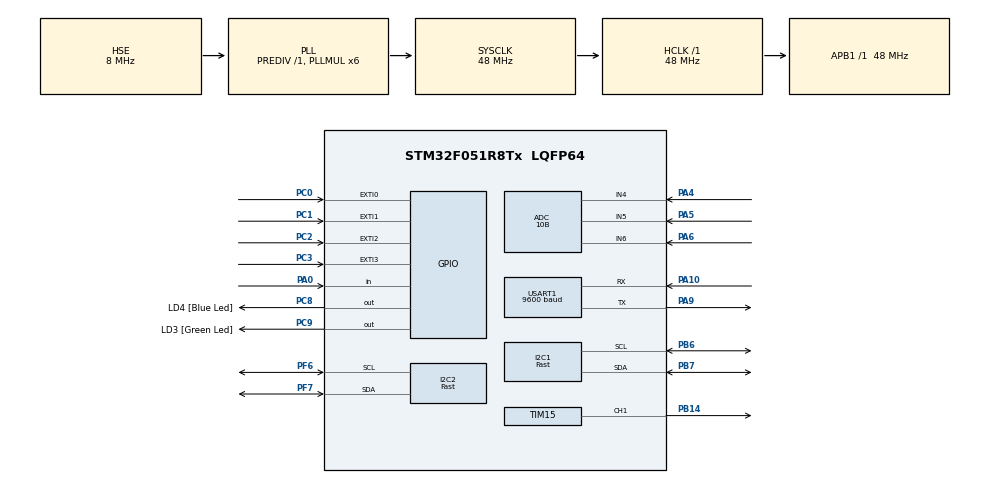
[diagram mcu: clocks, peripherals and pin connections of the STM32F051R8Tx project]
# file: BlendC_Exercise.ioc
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ADC.ClockPrescaler=ADC_CLOCK_ASYNC_DIV1
ADC.ContinuousConvMode=DISABLE
ADC.DMAContinuousRequests=DISABLE
ADC.DataAlign=ADC_DATAALIGN_RIGHT
ADC.DiscontinuousConvMode=DISABLE
ADC.EOCSelection=ADC_EOC_SINGLE_CONV
ADC.EnableAnalogWatchDog=false
ADC.ExternalTrigConv=ADC_SOFTWARE_START
ADC.ExternalTrigConvEdge=ADC_EXTERNALTRIGCONVEDGE_NONE
ADC.LowPowerAutoPowerOff=DISABLE
ADC.LowPowerAutoWait=DISABLE
ADC.Overrun=ADC_OVR_DATA_PRESERVED
ADC.Resolution=ADC_RESOLUTION_10B
ADC.SamplingTime=ADC_SAMPLETIME_1CYCLE_5
ADC.ScanConvMode=ADC_SCAN_DIRECTION_FORWARD
Dma.ADC.0.Direction=DMA_PERIPH_TO_MEMORY
Dma.ADC.0.Instance=DMA1_Channel1
Dma.ADC.0.MemDataAlignment=DMA_MDATAALIGN_WORD
Dma.ADC.0.MemInc=DMA_MINC_ENABLE
Dma.ADC.0.Mode=DMA_NORMAL
Dma.ADC.0.PeriphDataAlignment=DMA_PDATAALIGN_WORD
Dma.ADC.0.PeriphInc=DMA_PINC_DISABLE
Dma.ADC.0.Priority=DMA_PRIORITY_LOW
Dma.Request0=ADC
I2C1.I2C_Speed_Mode=I2C_Fast
I2C1.Timing=0x2010091A
I2C2.I2C_Speed_Mode=I2C_Fast
I2C2.Timing=0x2010091A
Mcu.Family=STM32F0
Mcu.Name=STM32F051R8Tx
Mcu.Package=LQFP64
NVIC.DMA1_Channel1_IRQn=true\:0\:0\:false\:false\:true\:false
NVIC.EXTI0_1_IRQn=true\:2\:0\:true\:false\:true\:true
NVIC.EXTI2_3_IRQn=true\:2\:0\:true\:false\:true\:true
NVIC.TIM15_IRQn=true\:0\:0\:false\:false\:true\:true
NVIC.USART1_IRQn=true\:1\:0\:true\:false\:true\:true
PA0.GPIO_PuPd=GPIO_PULLUP
PA0.Signal=GPIO_Input
PA10.GPIO_PuPd=GPIO_PULLUP
PA10.Mode=Asynchronous
PA10.Signal=USART1_RX
PA13.GPIO_Label=SWDIO
PA13.Mode=Serial_Wire
PA13.Signal=SYS_SWDIO
PA14.GPIO_Label=SWCLK
PA14.Mode=Serial_Wire
PA14.Signal=SYS_SWCLK
PA4.Mode=IN4
PA4.Signal=ADC_IN4
PA5.Mode=IN5
PA5.Signal=ADC_IN5
PA6.Mode=IN6
PA6.Signal=ADC_IN6
PA9.GPIO_PuPd=GPIO_PULLUP
PA9.Mode=Asynchronous
PA9.Signal=USART1_TX
PB14.Signal=S_TIM15_CH1
PB6.Mode=I2C
PB6.Signal=I2C1_SCL
PB7.Mode=I2C
PB7.Signal=I2C1_SDA
PC0.GPIO_PuPd=GPIO_PULLUP
PC0.Signal=GPXTI0
PC1.GPIO_PuPd=GPIO_PULLUP
PC1.Signal=GPXTI1
PC2.GPIO_PuPd=GPIO_PULLUP
PC2.Signal=GPXTI2
PC3.GPIO_PuPd=GPIO_PULLUP
PC3.Signal=GPXTI3
PC8.GPIO_Label=LD4 [Blue Led]
PC8.Signal=GPIO_Output
PC9.GPIO_Label=LD3 [Green Led]
PC9.Signal=GPIO_Output
PF0-OSC_IN.Mode=HSE-External-Oscillator
PF0-OSC_IN.Signal=RCC_OSC_IN
PF1-OSC_OUT.Mode=HSE-External-Oscillator
PF1-OSC_OUT.Signal=RCC_OSC_OUT
PF6.Mode=I2C
PF6.Signal=I2C2_SCL
PF7.Mode=I2C
PF7.Signal=I2C2_SDA
ProjectManager.HeapSize=0x200
ProjectManager.StackSize=0x400
ProjectManager.TargetToolchain=MDK-ARM V5
RCC.AHBFreq_Value=48000000
RCC.APB1Freq_Value=48000000
RCC.APB1TimFreq_Value=48000000
RCC.HCLKFreq_Value=48000000
RCC.I2c1ClockSelection=RCC_I2C1CLKSOURCE_SYSCLK
RCC.PLLMUL=RCC_PLL_MUL6
RCC.PLLSourceVirtual=RCC_PLLSOURCE_HSE
RCC.SYSCLKFreq_VALUE=48000000
RCC.SYSCLKSource=RCC_SYSCLKSOURCE_PLLCLK
RCC.Usart1ClockSelection=RCC_USART1CLKSOURCE_SYSCLK
SH.S_TIM15_CH1.0=TIM15_CH1,PWM Generation1 CH1
TIM15.Channel-PWM\ Generation1\ CH1=TIM_CHANNEL_1
TIM15.Period=639
TIM15.Prescaler=2
TIM15.Pulse-PWM\ Generation1\ CH1=319
TIM15.RepetitionCounter=9
USART1.BaudRate=9600
USART1.VirtualMode-Asynchronous=VM_ASYNC
VP_TIM15_VS_ClockSourceINT.Mode=Internal
board=STM32F0DISCOVERY

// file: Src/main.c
/**
  ******************************************************************************
  * @file           : main.c
  * @brief          : Main program body
  ******************************************************************************
  ** This notice applies to any and all portions of this file
  * that are not between comment pairs USER CODE BEGIN and
  * USER CODE END. Other portions of this file, whether
  * inserted by the user or by software development tools
  * are owned by their respective copyright owners.
  *
  * COPYRIGHT(c) 2018 STMicroelectronics
  *
  * Redistribution and use in source and binary forms, with or without modification,
  * are permitted provided that the following conditions are met:
  *   1. Redistributions of source code must retain the above copyright notice,
  *      this list of conditions and the following disclaimer.
  *   2. Redistributions in binary form must reproduce the above copyright notice,
  *      this list of conditions and the following disclaimer in the documentation
  *      and/or other materials provided with the distribution.
  *   3. Neither the name of STMicroelectronics nor the names of its contributors
  *      may be used to endorse or promote products derived from this software
  *      without specific prior written permission.
  *
  * THIS SOFTWARE IS PROVIDED BY THE COPYRIGHT HOLDERS AND CONTRIBUTORS "AS IS"
  * AND ANY EXPRESS OR IMPLIED WARRANTIES, INCLUDING, BUT NOT LIMITED TO, THE
  * IMPLIED WARRANTIES OF MERCHANTABILITY AND FITNESS FOR A PARTICULAR PURPOSE ARE
  * DISCLAIMED. IN NO EVENT SHALL THE COPYRIGHT HOLDER OR CONTRIBUTORS BE LIABLE
  * FOR ANY DIRECT, INDIRECT, INCIDENTAL, SPECIAL, EXEMPLARY, OR CONSEQUENTIAL
  * DAMAGES (INCLUDING, BUT NOT LIMITED TO, PROCUREMENT OF SUBSTITUTE GOODS OR
  * SERVICES; LOSS OF USE, DATA, OR PROFITS; OR BUSINESS INTERRUPTION) HOWEVER
  * CAUSED AND ON ANY THEORY OF LIABILITY, WHETHER IN CONTRACT, STRICT LIABILITY,
  * OR TORT (INCLUDING NEGLIGENCE OR OTHERWISE) ARISING IN ANY WAY OUT OF THE USE
  * OF THIS SOFTWARE, EVEN IF ADVISED OF THE POSSIBILITY OF SUCH DAMAGE.
  *
  ******************************************************************************
  */
#include "main.h"
#include "stm32f0xx_hal.h"
#include "adc.h"
#include "dma.h"
#include "i2c.h"
#include "tim.h"
#include "usart.h"
#include "gpio.h"

/* USER CODE BEGIN Includes */
#include <stdio.h>
#include <string.h>
/* USER CODE END Includes */

/* USER CODE BEGIN PV */
/* Private variables ---------------------------------------------------------*/
uint16_t set_mode;
uint16_t set_humidity;
uint32_t time_press;
uint32_t time_press_limit;
HAL_StatusTypeDef uart_status = HAL_ERROR;
uint8_t uart_data[10] = {0, };
/* USER CODE END PV */

void SystemClock_Config(void);

/* USER CODE BEGIN PFP */
/* Private function prototypes -----------------------------------------------*/
/* Private function prototypes -----------------------------------------------*/
#ifdef __GNUC__
  /* With GCC/RAISONANCE, small printf (option LD Linker->Libraries->Small printf
     set to 'Yes') calls __io_putchar() */
  #define PUTCHAR_PROTOTYPE int __io_putchar(int ch)
#else
  #define PUTCHAR_PROTOTYPE int fputc(int ch, FILE *f)
#endif /* __GNUC__ */

/**
  * @brief  Retargets the C library printf function to the USART.
  * @param  None
  * @retval None
  */
PUTCHAR_PROTOTYPE
{
    /* Place your implementation of fputc here */
    /* e.g. write a character to the USART */
    HAL_UART_Transmit(&huart1, (uint8_t *)&ch, 1, 100);

    return ch;
}
/* USER CODE END PFP */

int main(void)
{
  /* USER CODE BEGIN 1 */
	static int pressed = -1;  // -1 means not pressed
	set_humidity = 40;
  /* USER CODE END 1 */

  /* MCU Configuration----------------------------------------------------------*/

  /* Reset of all peripherals, Initializes the Flash interface and the Systick. */
  HAL_Init();

  /* Configure the system clock */
  SystemClock_Config();

  /* Initialize all configured peripherals */
  MX_GPIO_Init();
  MX_DMA_Init();
  MX_USART1_UART_Init();
  MX_I2C1_Init();
  MX_I2C2_Init();
  MX_TIM15_Init();
  MX_ADC_Init();
  /* USER CODE BEGIN 2 */
	//I2C_MMA8653_INIT();
	HAL_GPIO_WritePin(GPIOC, GPIO_PIN_9 | GPIO_PIN_8, GPIO_PIN_SET);
	HAL_Delay(500);
	HAL_GPIO_WritePin(GPIOC, GPIO_PIN_9 | GPIO_PIN_8, GPIO_PIN_RESET);
	HAL_Delay(500);

	__HAL_UART_ENABLE_IT(&huart1, UART_IT_RXNE);

  /* USER CODE END 2 */

  /* Infinite loop */
  /* USER CODE BEGIN WHILE */
  while (1)
  {
		//uart_status = HAL_UART_Receive(&huart1, uart_data, 10, 1000);

		if (uart_status == HAL_OK && uart_data[0] != 0)
		{
			HAL_UART_Transmit_IT(&huart1, uart_data, 1);
			//printf("Fail it!\r\n");
			HAL_Delay(500);
			uart_data[0] = 0;
		}
		else
		{
			printf("Fail it!\r\n");
		}

		//READ_ADC_DATA();
		HAL_Delay(100);

		//I2C1_MMA8653_DATA();
		//HAL_Delay(100);

		TIM15_PWM_FAN();

		if (HAL_GPIO_ReadPin(GPIOC, GPIO_PIN_0) == GPIO_PIN_RESET)
   {
		 __HAL_TIM_SET_COMPARE(&htim15, TIM_CHANNEL_1, PULSE_DUTY_30);
		 TIM15_PWM_FAN();
   }

		if (set_mode == 1)
		{
			if (set_mode == 1 && pressed == -1)
			{
				time_press = HAL_GetTick();
				time_press_limit = time_press + 5000;
				pressed = 0;
			}
			else if (pressed == 0 && HAL_GetTick() < time_press_limit)
			{
				if (set_mode == 1 && set_humidity <= 70){
					set_humidity += 10;
					HAL_GPIO_WritePin(GPIOC, GPIO_PIN_9, GPIO_PIN_SET);
					HAL_Delay(100);
					HAL_GPIO_WritePin(GPIOC, GPIO_PIN_9, GPIO_PIN_RESET);
					HAL_Delay(100);
				}
			}
			printf("Button %d	 set %d	time = %d\r\n", set_mode, set_humidity, HAL_GetTick());
		HAL_Delay(100);
			set_mode = 0;
		}

		if (pressed == 0 && time_press_limit != 0 && HAL_GetTick() > time_press_limit)
		{
			time_press = 0;
			time_press_limit = 0;
			pressed = -1;
			set_mode = 0;
			set_humidity = 40;
		}

  /* USER CODE END WHILE */

  }

}

void SystemClock_Config(void)
{

  RCC_OscInitTypeDef RCC_OscInitStruct;
  RCC_ClkInitTypeDef RCC_ClkInitStruct;
  RCC_PeriphCLKInitTypeDef PeriphClkInit;

    /**Initializes the CPU, AHB and APB busses clocks
    */
  RCC_OscInitStruct.OscillatorType = RCC_OSCILLATORTYPE_HSI14|RCC_OSCILLATORTYPE_HSE;
  RCC_OscInitStruct.HSEState = RCC_HSE_ON;
  RCC_OscInitStruct.HSI14State = RCC_HSI14_ON;
  RCC_OscInitStruct.HSI14CalibrationValue = 16;
  RCC_OscInitStruct.PLL.PLLState = RCC_PLL_ON;
  RCC_OscInitStruct.PLL.PLLSource = RCC_PLLSOURCE_HSE;
  RCC_OscInitStruct.PLL.PLLMUL = RCC_PLL_MUL6;
  RCC_OscInitStruct.PLL.PREDIV = RCC_PREDIV_DIV1;
  if (HAL_RCC_OscConfig(&RCC_OscInitStruct) != HAL_OK)
  {
    _Error_Handler(__FILE__, __LINE__);
  }

    /**Initializes the CPU, AHB and APB busses clocks
    */
  RCC_ClkInitStruct.ClockType = RCC_CLOCKTYPE_HCLK|RCC_CLOCKTYPE_SYSCLK
                              |RCC_CLOCKTYPE_PCLK1;
  RCC_ClkInitStruct.SYSCLKSource = RCC_SYSCLKSOURCE_PLLCLK;
  RCC_ClkInitStruct.AHBCLKDivider = RCC_SYSCLK_DIV1;
  RCC_ClkInitStruct.APB1CLKDivider = RCC_HCLK_DIV1;

  if (HAL_RCC_ClockConfig(&RCC_ClkInitStruct, FLASH_LATENCY_1) != HAL_OK)
  {
    _Error_Handler(__FILE__, __LINE__);
  }

  PeriphClkInit.PeriphClockSelection = RCC_PERIPHCLK_USART1|RCC_PERIPHCLK_I2C1;
  PeriphClkInit.Usart1ClockSelection = RCC_USART1CLKSOURCE_SYSCLK;
  PeriphClkInit.I2c1ClockSelection = RCC_I2C1CLKSOURCE_SYSCLK;
  if (HAL_RCCEx_PeriphCLKConfig(&PeriphClkInit) != HAL_OK)
  {
    _Error_Handler(__FILE__, __LINE__);
  }

    /**Configure the Systick interrupt time
    */
  HAL_SYSTICK_Config(HAL_RCC_GetHCLKFreq()/1000);

    /**Configure the Systick
    */
  HAL_SYSTICK_CLKSourceConfig(SYSTICK_CLKSOURCE_HCLK);

  /* SysTick_IRQn interrupt configuration */
  HAL_NVIC_SetPriority(SysTick_IRQn, 0, 0);
}

/* USER CODE BEGIN 4 */
/**
  * @brief  EXTI line detection callback.
  * @param  GPIO_Pin Specifies the port pin connected to corresponding EXTI line.
  * @retval None
  */
void HAL_GPIO_EXTI_Callback(uint16_t GPIO_Pin)
{
  switch (GPIO_Pin)
	{
		case GPIO_PIN_0: set_mode = 1;
										 HAL_GPIO_WritePin(GPIOC, GPIO_PIN_8, GPIO_PIN_SET);
										 HAL_Delay(100);
										 //HAL_GPIO_WritePin(GPIOC, GPIO_PIN_9, GPIO_PIN_RESET);
										 //HAL_Delay(100);
										 break;
		case GPIO_PIN_2: HAL_GPIO_WritePin(GPIOC, GPIO_PIN_9, GPIO_PIN_SET);
										 HAL_Delay(100);
										 HAL_GPIO_WritePin(GPIOC, GPIO_PIN_8, GPIO_PIN_RESET);
										 HAL_Delay(100);
										 break;
	}
}

/* USER CODE END 4 */

void _Error_Handler(char *file, int line)
{
  while(1)
  {
  }
}

/************************ (C) COPYRIGHT STMicroelectronics *****END OF FILE****/
